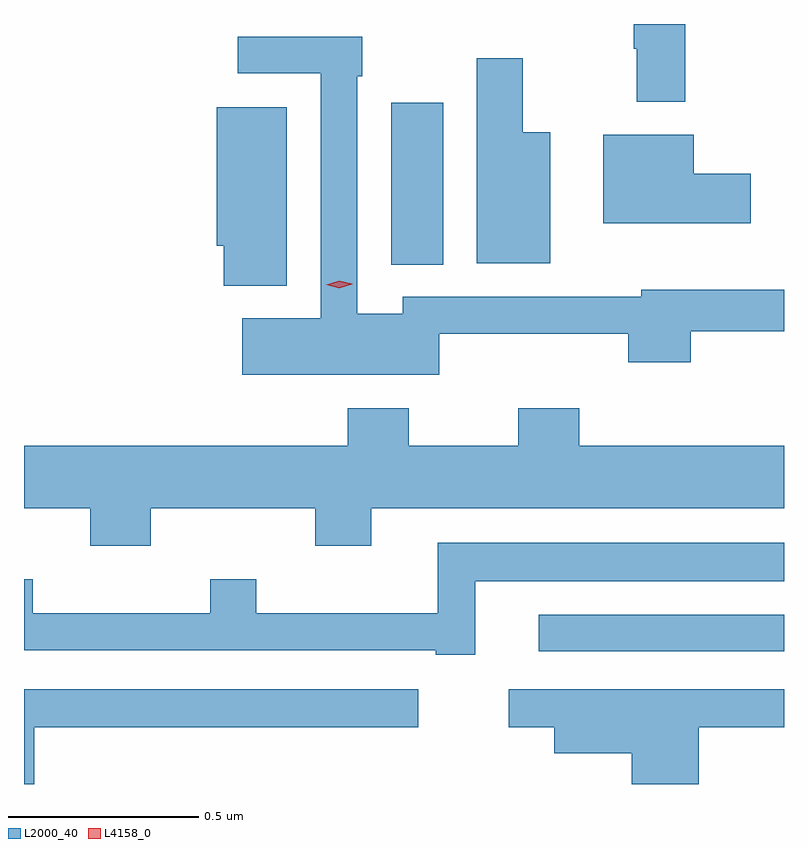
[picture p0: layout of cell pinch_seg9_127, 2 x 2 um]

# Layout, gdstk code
import gdstk
lib = gdstk.Library(unit=1e-6, precision=1e-09)
def R(c, l, rs):  # rectangles x0, y0, x1, y1
    for r in rs: c.add(gdstk.rectangle(r[:2], r[2:], *l))
def P(c, l, *ps):  # polygons
    for p in ps: c.add(gdstk.Polygon(p, *l))
L2000_40 = (2000, 40)
L4158_0 = (4158, 0)

pinch_seg9_127 = lib.new_cell('pinch_seg9_127')
R(pinch_seg9_127, L2000_40, [(819.315,1229.343,819.961,1229.439), (818.927,1230.361,819.064,1230.787)])
P(pinch_seg9_127, L2000_40, [(819.701,1230.994),(819.565,1230.994),(819.565,1230.929),(819.573,1230.929),(819.573,1230.789),(819.701,1230.789)],
  [(819.054,1230.179),(819.551,1230.179),(819.551,1230.104),(819.716,1230.104),(819.716,1230.186),(819.961,1230.186),(819.961,1230.295),(819.585,1230.295),(819.585,1230.276),(818.958,1230.276),(818.958,1230.232),(818.838,1230.232),(818.838,1230.857),(818.851,1230.857),(818.851,1230.96),(818.523,1230.96),(818.523,1230.864),(818.742,1230.864),(818.742,1230.22),(818.535,1230.22),(818.535,1230.071),(819.054,1230.071)],
  [(819.346,1230.709),(819.274,1230.709),(819.274,1230.904),(819.152,1230.904),(819.152,1230.365),(819.346,1230.365)],
  [(818.653,1230.775),(818.468,1230.775),(818.468,1230.411),(818.486,1230.411),(818.486,1230.305),(818.653,1230.305)],
  [(819.874,1230.6),(819.724,1230.6),(819.724,1230.703),(819.485,1230.703),(819.485,1230.47),(819.874,1230.47)],
  [(818.295,1229.72),(818.728,1229.72),(818.728,1229.621),(818.875,1229.621),(818.875,1229.72),(819.961,1229.72),(819.961,1229.884),(819.422,1229.884),(819.422,1229.983),(819.262,1229.983),(819.262,1229.884),(818.973,1229.884),(818.973,1229.983),(818.813,1229.983),(818.813,1229.884),(817.961,1229.884),(817.961,1229.72),(818.135,1229.72),(818.135,1229.621),(818.295,1229.621)],
  [(819.148,1229.528),(819.961,1229.528),(819.961,1229.629),(819.05,1229.629),(819.05,1229.443),(818.572,1229.443),(818.572,1229.533),(818.451,1229.533),(818.451,1229.443),(817.984,1229.443),(817.984,1229.533),(817.961,1229.533),(817.961,1229.346),(819.044,1229.346),(819.044,1229.334),(819.148,1229.334)],
  [(817.988,1229.143),(818.998,1229.143),(818.998,1229.244),(817.961,1229.244),(817.961,1228.994),(817.988,1228.994)],
  [(819.736,1229.143),(819.961,1229.143),(819.961,1229.244),(819.237,1229.244),(819.237,1229.143),(819.356,1229.143),(819.356,1229.075),(819.56,1229.075),(819.56,1228.994),(819.736,1228.994)])
P(pinch_seg9_127, L4158_0, [(818.791,1230.299),(818.756,1230.308),(818.756,1230.308),(818.756,1230.308),(818.79,1230.319),(818.825,1230.31),(818.825,1230.31),(818.825,1230.309)])

lib.write_gds('pinch_seg9_127.gds')
